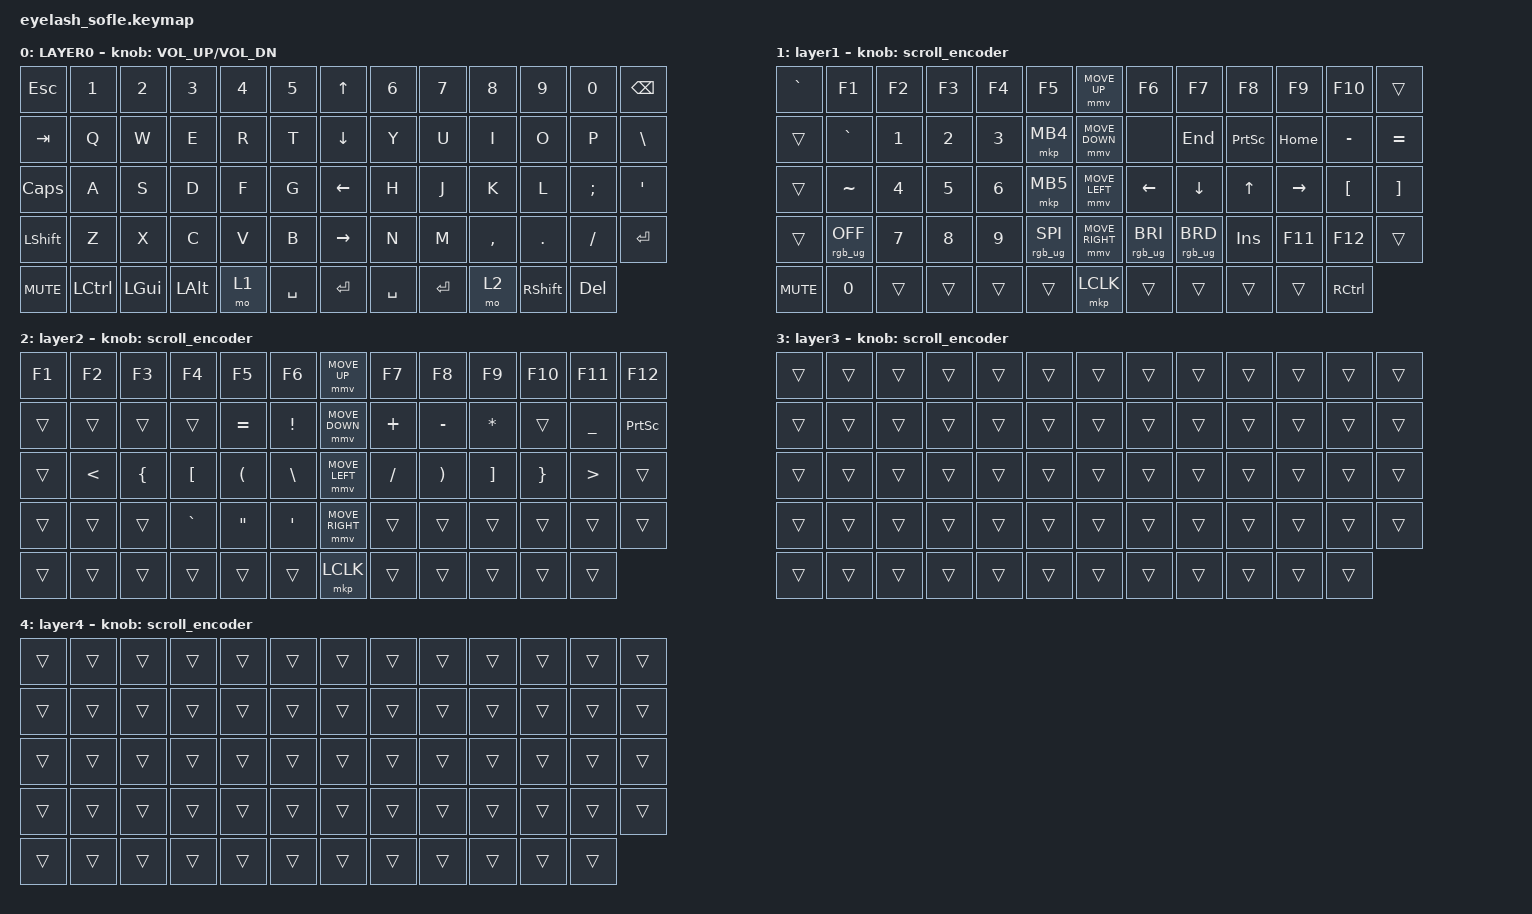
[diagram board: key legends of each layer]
#define ZMK_POINTING_DEFAULT_MOVE_VAL 1200  // 600
#define ZMK_POINTING_DEFAULT_SCRL_VAL 25   // 10

#include <input/processors.dtsi>
#include <zephyr/dt-bindings/input/input-event-codes.h>
#include <behaviors.dtsi>
#include <dt-bindings/zmk/keys.h>
#include <dt-bindings/zmk/pointing.h>
#include <dt-bindings/zmk/rgb.h>

&mmv_input_listener { input-processors = <&zip_xy_scaler 2 1>; };

&msc_input_listener { input-processors = <&zip_scroll_scaler 2 1>; };

&msc {
    acceleration-exponent = <1>;      // 0
    time-to-max-speed-ms = <100>;       // 300
    delay-ms = <0>;                   // 0
};

&mmv {
    time-to-max-speed-ms = <500>;
    acceleration-exponent = <1>;
    trigger-period-ms = <16>;
};

&soft_off { hold-time-ms = <2000>; };

/ {
    scroll_encoder: scroll_encoder {
        compatible = "zmk,behavior-sensor-rotate";
        #sensor-binding-cells = <0>;
        bindings = <&msc SCRL_DOWN>, <&msc SCRL_UP>;

        tap-ms = <100>;
    };

    behaviors {
    };

    combos {
        compatible = "zmk,combos";

        softoff {
            bindings = <&soft_off>;
            key-positions = <14 28 40>;
        };
    };

    macros {
        SHIFT_MCLK: SHIFT_MCLK {
            compatible = "zmk,behavior-macro";
            #binding-cells = <0>;
            bindings =
                <&macro_press>,
                <&kp LEFT_SHIFT>,
                <&macro_press>,
                <&mkp MB3>,
                <&macro_pause_for_release>,
                <&macro_release>,
                <&kp LEFT_SHIFT &mkp MB3>;

            label = "SHIFT_MCLK";
        };
    };

    keymap {
        compatible = "zmk,keymap";

        layer0 {
            bindings = <
&kp ESC     &kp N1     &kp N2        &kp N3        &kp N4  &kp N5       &kp UP_ARROW     &kp N6     &kp N7     &kp N8     &kp N9           &kp N0      &kp BACKSPACE
&kp TAB     &kp Q      &kp W         &kp E         &kp R   &kp T        &kp DOWN_ARROW   &kp Y      &kp U      &kp I      &kp O            &kp P       &kp BSLH
&kp CAPS    &kp A      &kp S         &kp D         &kp F   &kp G        &kp LEFT_ARROW   &kp H      &kp J      &kp K      &kp L            &kp SEMI    &kp APOS
&kp LSHFT   &kp Z      &kp X         &kp C         &kp V   &kp B        &kp RIGHT_ARROW  &kp N      &kp M      &kp COMMA  &kp DOT          &kp FSLH    &kp ENTER
&kp C_MUTE  &kp LCTRL  &kp LEFT_GUI  &kp LEFT_ALT  &mo 1   &kp SPACE    &kp ENTER        &kp SPACE  &kp ENTER  &mo 2      &kp RIGHT_SHIFT  &kp DELETE
            >;

            sensor-bindings = <&inc_dec_kp C_VOLUME_UP C_VOL_DN>;
            display-name = "LAYER0";
        };

        layer_1 {
            bindings = <
&kp GRAVE   &kp F1           &kp F2  &kp F3  &kp F4  &kp F5             &mmv MOVE_UP     &kp F6           &kp F7           &kp F8           &kp F9     &kp F10            &trans
&trans      &kp GRAVE        &kp N1  &kp N2  &kp N3  &mkp MB4           &mmv MOVE_DOWN   &none            &kp END          &kp PRINTSCREEN  &kp HOME   &kp MINUS          &kp EQUAL
&trans      &kp TILDE        &kp N4  &kp N5  &kp N6  &mkp MB5           &mmv MOVE_LEFT   &kp LEFT         &kp DOWN_ARROW   &kp UP_ARROW     &kp RIGHT  &kp LEFT_BRACKET   &kp RIGHT_BRACKET
&trans      &rgb_ug RGB_OFF  &kp N7  &kp N8  &kp N9  &rgb_ug RGB_SPI    &mmv MOVE_RIGHT  &rgb_ug RGB_BRI  &rgb_ug RGB_BRD  &kp INSERT       &kp F11    &kp F12            &trans
&kp C_MUTE  &kp N0           &trans  &trans  &trans  &trans             &mkp LCLK        &trans           &trans           &trans           &trans     &kp RIGHT_CONTROL
            >;

            display-name = "layer1";
            sensor-bindings = <&scroll_encoder>;
        };

        layer_2 {
            bindings = <
&kp F1  &kp F2         &kp F3          &kp F4            &kp F5                &kp F6           &mmv MOVE_UP     &kp F7     &kp F8                 &kp F9             &kp F10          &kp F11           &kp F12
&trans  &trans         &trans          &trans            &kp EQUAL             &kp EXCL         &mmv MOVE_DOWN   &kp PLUS   &kp MINUS              &kp STAR           &trans           &kp UNDER         &kp PRINTSCREEN
&trans  &kp LESS_THAN  &kp LEFT_BRACE  &kp LEFT_BRACKET  &kp LEFT_PARENTHESIS  &kp BACKSLASH    &mmv MOVE_LEFT   &kp SLASH  &kp RIGHT_PARENTHESIS  &kp RIGHT_BRACKET  &kp RIGHT_BRACE  &kp GREATER_THAN  &trans
&trans  &trans         &trans          &kp GRAVE         &kp DOUBLE_QUOTES     &kp APOS         &mmv MOVE_RIGHT  &trans     &trans                 &trans             &trans           &trans            &trans
&trans  &trans         &trans          &trans            &trans                &trans           &mkp LCLK        &trans     &trans                 &trans             &trans           &trans
            >;

            display-name = "layer2";
            sensor-bindings = <&scroll_encoder>;
        };

        layer_3 {
            bindings = <
&trans  &trans  &trans  &trans  &trans  &trans    &trans  &trans  &trans  &trans  &trans  &trans  &trans
&trans  &trans  &trans  &trans  &trans  &trans    &trans  &trans  &trans  &trans  &trans  &trans  &trans
&trans  &trans  &trans  &trans  &trans  &trans    &trans  &trans  &trans  &trans  &trans  &trans  &trans
&trans  &trans  &trans  &trans  &trans  &trans    &trans  &trans  &trans  &trans  &trans  &trans  &trans
&trans  &trans  &trans  &trans  &trans  &trans    &trans  &trans  &trans  &trans  &trans  &trans
            >;

            display-name = "layer3";
            sensor-bindings = <&scroll_encoder>;
        };

        layer_4 {
            bindings = <
&trans  &trans  &trans  &trans  &trans  &trans    &trans  &trans  &trans  &trans  &trans  &trans  &trans
&trans  &trans  &trans  &trans  &trans  &trans    &trans  &trans  &trans  &trans  &trans  &trans  &trans
&trans  &trans  &trans  &trans  &trans  &trans    &trans  &trans  &trans  &trans  &trans  &trans  &trans
&trans  &trans  &trans  &trans  &trans  &trans    &trans  &trans  &trans  &trans  &trans  &trans  &trans
&trans  &trans  &trans  &trans  &trans  &trans    &trans  &trans  &trans  &trans  &trans  &trans
            >;

            display-name = "layer4";
            sensor-bindings = <&scroll_encoder>;
        };
    };
};
